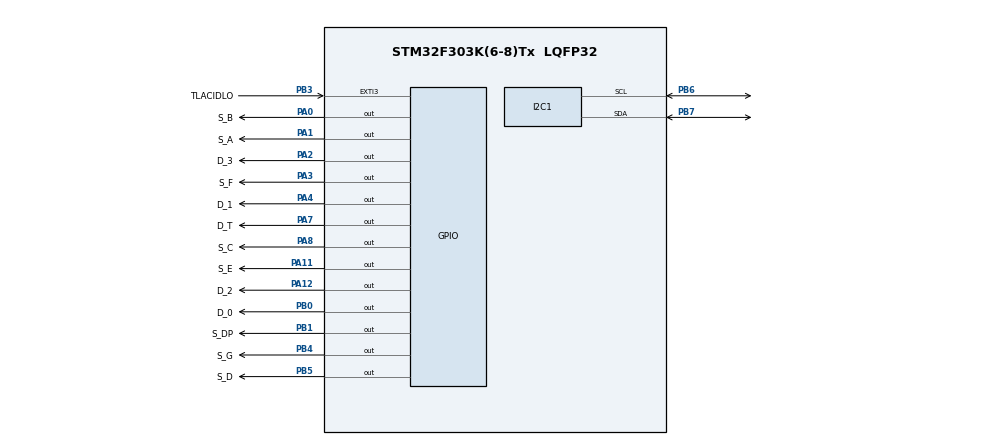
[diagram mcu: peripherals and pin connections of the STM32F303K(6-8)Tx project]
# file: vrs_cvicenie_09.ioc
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I2C1.OwnAddress=1
Mcu.Family=STM32F3
Mcu.Name=STM32F303K(6-8)Tx
Mcu.Package=LQFP32
NVIC.EXTI3_IRQn=true\:0\:0\:false\:false\:true\:true\:true
NVIC.I2C1_EV_IRQn=true\:0\:0\:false\:false\:true\:true\:true
NVIC.PriorityGroup=NVIC_PRIORITYGROUP_4
NVIC.TIM6_DAC1_IRQn=true\:0\:0\:false\:false\:true\:true\:true
NVIC.TIM7_DAC2_IRQn=true\:0\:0\:false\:false\:true\:true\:true
PA0.GPIO_Label=S_B
PA0.Signal=GPIO_Output
PA1.GPIO_Label=S_A
PA1.Signal=GPIO_Output
PA11.GPIO_Label=S_E
PA11.Signal=GPIO_Output
PA12.GPIO_Label=D_2
PA12.Signal=GPIO_Output
PA13.GPIO_Label=SWDIO
PA13.Signal=SYS_JTMS-SWDIO
PA14.GPIO_Label=SWCLK
PA14.Signal=SYS_JTCK-SWCLK
PA15.GPIO_Label=VCP_RX
PA15.Signal=USART2_RX
PA2.GPIO_Label=D_3
PA2.Signal=GPIO_Output
PA3.GPIO_Label=S_F
PA3.Signal=GPIO_Output
PA4.GPIO_Label=D_1
PA4.Signal=GPIO_Output
PA7.GPIO_Label=D_T
PA7.Signal=GPIO_Output
PA8.GPIO_Label=S_C
PA8.Signal=GPIO_Output
PB0.GPIO_Label=D_0
PB0.Signal=GPIO_Output
PB1.GPIO_Label=S_DP
PB1.Signal=GPIO_Output
PB3.GPIO_Label=TLACIDLO
PB3.GPIO_ModeDefaultEXTI=GPIO_MODE_IT_RISING
PB3.GPIO_PuPd=GPIO_PULLUP
PB3.Signal=GPXTI3
PB4.GPIO_Label=S_G
PB4.Signal=GPIO_Output
PB5.GPIO_Label=S_D
PB5.Signal=GPIO_Output
PB6.GPIO_Pu=GPIO_PULLUP
PB6.Mode=I2C
PB6.Signal=I2C1_SCL
PB7.GPIO_Pu=GPIO_PULLUP
PB7.Mode=I2C
PB7.Signal=I2C1_SDA
PF0\ /\ OSC_IN.GPIO_Label=MCO
PF0\ /\ OSC_IN.Signal=RCC_OSC_IN
ProjectManager.HeapSize=0x200
ProjectManager.StackSize=0x400
ProjectManager.TargetToolchain=STM32CubeIDE
RCC.AHBFreq_Value=8000000
RCC.APB1Freq_Value=8000000
RCC.APB2Freq_Value=8000000
RCC.CortexFreq_Value=8000000
RCC.HSE_VALUE=8000000
RCC.HSI_VALUE=8000000
RCC.SYSCLKFreq_VALUE=8000000
TIM6.Period=49
TIM6.Prescaler=799
TIM7.Period=999
TIM7.Prescaler=7999
VP_TIM6_VS_ClockSourceINT.Mode=Enable_Timer
VP_TIM7_VS_ClockSourceINT.Mode=Enable_Timer
board=NUCLEO-F303K8

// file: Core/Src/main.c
/* USER CODE BEGIN Header */
/**
 ******************************************************************************
 * @file           : main.c
 * @brief          : Main program body
 ******************************************************************************
 * @attention
 *
 * <h2><center>&copy; Copyright (c) 2021 STMicroelectronics.
 * All rights reserved.</center></h2>
 *
 * This software component is licensed by ST under BSD 3-Clause license,
 * the "License"; You may not use this file except in compliance with the
 * License. You may obtain a copy of the License at:
 *                        opensource.org/licenses/BSD-3-Clause
 *
 ******************************************************************************
 */
/* USER CODE END Header */
#include "main.h"
#include "i2c.h"
#include "tim.h"
#include "gpio.h"

/* USER CODE BEGIN Includes */
#include "fonts.h"
#include "display.h"
#include "i2c.h"
#include "../../compass/lis3mdltr.h"
#include "../../accelerometer/lsm6ds0.h"
#include "../../humidity/hts221.h"
#include "../../pressure/lps25hb.h"
/* USER CODE END Includes */

/* USER CODE BEGIN PV */
extern DisplayDigitData_ DisplayDigit_0;
extern DisplayDigitData_ DisplayDigit_1;
extern DisplayDigitData_ DisplayDigit_2;
extern DisplayDigitData_ DisplayDigit_3;
extern bool nextStringSequence;
extern uint8_t *aReceiveBuffer_read, end_of_read_flag;
extern volatile uint8_t ubReceiveIndex;
extern MetricsOption_ metOpt;
extern uint8_t switch_state;
MetricsStruct metrics;
/*uint8_t temp = 0;
 float mag[3], acc[3];
 float humidity, temperature = -1.f;
 float pressure, altitude = 0;*/
/* USER CODE END PV */

void SystemClock_Config(void);

/* USER CODE BEGIN 0 */
const uint8_t TEMPERATURE_STR_TEXT[] = "TEMP_";
const uint8_t TEMPERATURE_STR_PROT[] = "%04.1f";
const float TEMPERATURE_MIN = -99.9;
const float TEMPERATURE_MAX = 99.9;
const uint8_t HUMIDITY_STR_TEXT[] = "HUM_";
const uint8_t HUMIDITY_STR_PROT[] = "%02.0f";
const float HUMIDITY_MIN = 0.0;
const float HUMIDITY_MAX = 99.9;
const uint8_t PRESSURE_STR_TEXT[] = "BAR_";
const uint8_t PRESSURE_STR_PROT[] = "%07.2f";
const float PRESSURE_MIN = 260.0;
const float PRESSURE_MAX = 1259.9;
const uint8_t ALTITUDE_STR_TEXT[] = "ALT_";
const uint8_t ALTITUDE_STR_PROT[] = "%06.1f";
const float ALTITUDE_MIN = -1876.5;
const float ALTITUDE_MAX = 9999.9;
/* USER CODE END 0 */

int main(void) {
	/* USER CODE BEGIN 1 */
	DisplayDigit_0.index = 0;
	DisplayDigit_0.chr = 0;
	DisplayDigit_1.index = 1;
	DisplayDigit_1.chr = 0;
	DisplayDigit_2.index = 2;
	DisplayDigit_2.chr = 0;
	DisplayDigit_3.index = 3;
	DisplayDigit_3.chr = 0;
	nextStringSequence = false;
	Direction_ direction = Direction_DownUp;
	end_of_read_flag = 0;
	ubReceiveIndex = 0;
	metOpt = MetricsOption_Altitude;
	metrics.temperature = -1;
	metrics.humidity = -1;
	metrics.pressure = -1;
	metrics.altitude = -1;
	switch_state = 1;
	/* USER CODE END 1 */

	/* MCU Configuration--------------------------------------------------------*/

	/* Reset of all peripherals, Initializes the Flash interface and the Systick. */

	LL_APB2_GRP1_EnableClock(LL_APB2_GRP1_PERIPH_SYSCFG);
	LL_APB1_GRP1_EnableClock(LL_APB1_GRP1_PERIPH_PWR);

	NVIC_SetPriorityGrouping(NVIC_PRIORITYGROUP_4);

	/* System interrupt init*/

	/* Configure the system clock */
	SystemClock_Config();

	/* Initialize all configured peripherals */
	MX_GPIO_Init();
	MX_I2C1_Init();
	MX_TIM6_Init();
	MX_TIM7_Init();
	/* USER CODE BEGIN 2 */
	lsm6ds0_init();
	hts221_init();
	lps25hb_init();
	uint8_t index = 0;
	uint8_t string[STR_LEN] = { 0 };
	uint8_t lenString = STR_LEN;
	setMetricsOption(string, metOpt, metrics);
	lenString = strlen((const char*) string);
	/* USER CODE END 2 */

	/* Infinite loop */
	while (1) {
		/* USER CODE BEGIN 3 */
		if (switch_state) {
			index = 0;
			metOpt++;
			if (metOpt < MetricsOption_Temperature
					|| metOpt > MetricsOption_Altitude) {
				metOpt = MetricsOption_Temperature;
			}

			switch_state = 0;
		}
		if (nextStringSequence) {
			nextStringSequence = false;
			hts221_get_temperature(&metrics.temperature);
			hts221_get_humidity(&metrics.humidity);
			lps25hb_get_pressureWithOffset(&metrics.pressure);
			lps25hb_get_altitude(&metrics.altitude);
			setMetricsOption(string, metOpt, metrics);
			lenString = strlen((const char*) string);
			displayString(index, string, lenString);
			if (index + STR_DISP_LEN < lenString
					&& direction == Direction_DownUp) {
				index++;
			} else if (index + STR_DISP_LEN >= lenString
					&& direction == Direction_DownUp) {
				direction = Direction_UpDown;
			}
			if (index > 0 && direction == Direction_UpDown) {
				index--;
			} else if (index == 0 && direction == Direction_UpDown) {
				direction = Direction_DownUp;
			}
		}
	}
	/* USER CODE END 3 */
}

void SystemClock_Config(void) {
	LL_FLASH_SetLatency(LL_FLASH_LATENCY_0);
	while (LL_FLASH_GetLatency() != LL_FLASH_LATENCY_0) {
	}
	LL_RCC_HSI_Enable();

	/* Wait till HSI is ready */
	while (LL_RCC_HSI_IsReady() != 1) {

	}
	LL_RCC_HSI_SetCalibTrimming(16);
	LL_RCC_SetAHBPrescaler(LL_RCC_SYSCLK_DIV_1);
	LL_RCC_SetAPB1Prescaler(LL_RCC_APB1_DIV_1);
	LL_RCC_SetAPB2Prescaler(LL_RCC_APB2_DIV_1);
	LL_RCC_SetSysClkSource(LL_RCC_SYS_CLKSOURCE_HSI);

	/* Wait till System clock is ready */
	while (LL_RCC_GetSysClkSource() != LL_RCC_SYS_CLKSOURCE_STATUS_HSI) {

	}
	LL_Init1msTick(8000000);
	LL_SetSystemCoreClock(8000000);
	LL_RCC_SetI2CClockSource(LL_RCC_I2C1_CLKSOURCE_HSI);
}

/* USER CODE BEGIN 4 */
uint8_t checkButtonState(GPIO_TypeDef *PORT, uint8_t PIN, uint8_t edge,
		uint8_t samples_window, uint8_t samples_required) {
	//type your code for "checkButtonState" implementation here:
	uint8_t button_state = 0, timeout = 0;
	while (timeout < samples_window) {
		if ((LL_GPIO_ReadInputPort(PORT) & (1 << PIN))) {
			button_state += 1;
		} else {
			//button_state = 0;
		}
		timeout += 1;
	}
	if (button_state >= samples_required)
		return 1;
	else
		return 0;
}
void setMetricsOption(uint8_t *str, MetricsOption_ metricsOption,
		MetricsStruct metricsStruct) {
	switch (metricsOption) {
	default: //Unknown
		break;
	case MetricsOption_Temperature:
		setString(str, TEMPERATURE_STR_TEXT, TEMPERATURE_STR_PROT,
				metricsStruct.temperature, TEMPERATURE_MIN, TEMPERATURE_MAX);
		break;
	case MetricsOption_Humidity:
		setString(str, HUMIDITY_STR_TEXT, HUMIDITY_STR_PROT,
				metricsStruct.humidity, HUMIDITY_MIN, HUMIDITY_MAX);
		break;
	case MetricsOption_Pressure:
		setString(str, PRESSURE_STR_TEXT, PRESSURE_STR_PROT,
				metricsStruct.pressure, PRESSURE_MIN, PRESSURE_MAX);
		break;
	case MetricsOption_Altitude:
		setString(str, ALTITUDE_STR_TEXT, ALTITUDE_STR_PROT,
				metricsStruct.altitude, ALTITUDE_MIN, ALTITUDE_MAX);
		break;
	}
}
void setString(uint8_t *str, const uint8_t *strText, const uint8_t *strProt,
		float value, float minValue, float maxValue) {
	strcpy((char*) str, (const char*) strText);
	uint16_t len = strlen((const char*) str);
	if (value < minValue)
		value = minValue;
	else if (value > maxValue)
		value = maxValue;
	sprintf((char*) (str + len), (const char*) strProt, value);
}
uint8_t displayString(uint8_t index, uint8_t *str, uint8_t length) {
	uint8_t result = 0;
	if (index + STR_DISP_LEN <= length) {
		uint8_t dispStr[STR_DISP_LEN] = { 0 };
		memcpy(dispStr, str + index, STR_DISP_LEN);
		result = index + STR_DISP_LEN;
		DisplayDigit_0.chr = dispStr[0];
		DisplayDigit_1.chr = dispStr[1];
		DisplayDigit_2.chr = dispStr[2];
		DisplayDigit_3.chr = dispStr[3];
	}
	return result;
}
/* USER CODE END 4 */

void Error_Handler(void) {
	__disable_irq();
	while (1) {
	}
}

/************************ (C) COPYRIGHT STMicroelectronics *****END OF FILE****/
